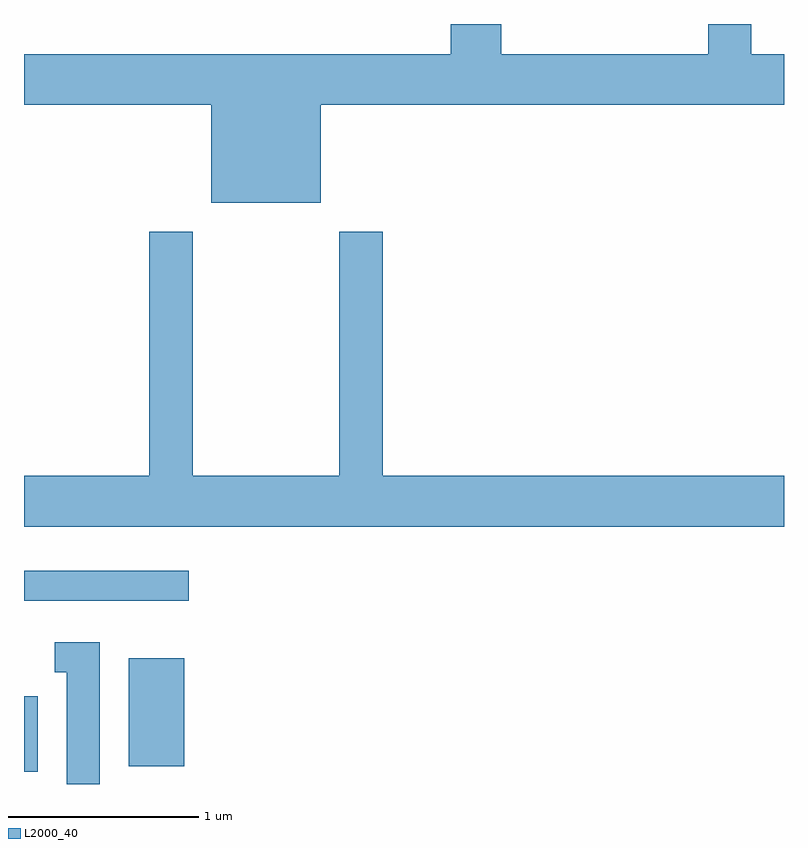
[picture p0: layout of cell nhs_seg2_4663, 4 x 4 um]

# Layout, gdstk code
import gdstk
lib = gdstk.Library(unit=1e-6, precision=1e-09)
def R(c, l, rs):  # rectangles x0, y0, x1, y1
    for r in rs: c.add(gdstk.rectangle(r[:2], r[2:], *l))
def P(c, l, *ps):  # polygons
    for p in ps: c.add(gdstk.Polygon(p, *l))
L2000_40 = (2000, 40)

nhs_seg2_4663 = lib.new_cell('nhs_seg2_4663')
R(nhs_seg2_4663, L2000_40, [(321.611,1095.866,321.684,1096.264), (322.161,1095.896,322.454,1096.464), (321.611,1096.766,322.478,1096.924)])
P(nhs_seg2_4663, L2000_40, [(323.174,1099.376),(325.611,1099.376),(325.611,1099.644),(325.439,1099.644),(325.439,1099.802),(325.211,1099.802),(325.211,1099.644),(324.124,1099.644),(324.124,1099.802),(323.856,1099.802),(323.856,1099.644),(321.611,1099.644),(321.611,1099.376),(322.596,1099.376),(322.596,1098.861),(323.174,1098.861)],
  [(325.611,1097.424),(323.499,1097.424),(323.499,1098.709),(323.271,1098.709),(323.271,1097.424),(322.499,1097.424),(322.499,1098.709),(322.271,1098.709),(322.271,1097.424),(321.611,1097.424),(321.611,1097.156),(325.611,1097.156)],
  [(322.009,1096.549),(321.773,1096.549),(321.773,1096.391),(321.836,1096.391),(321.836,1095.802),(322.009,1095.802)])

lib.write_gds('nhs_seg2_4663.gds')
